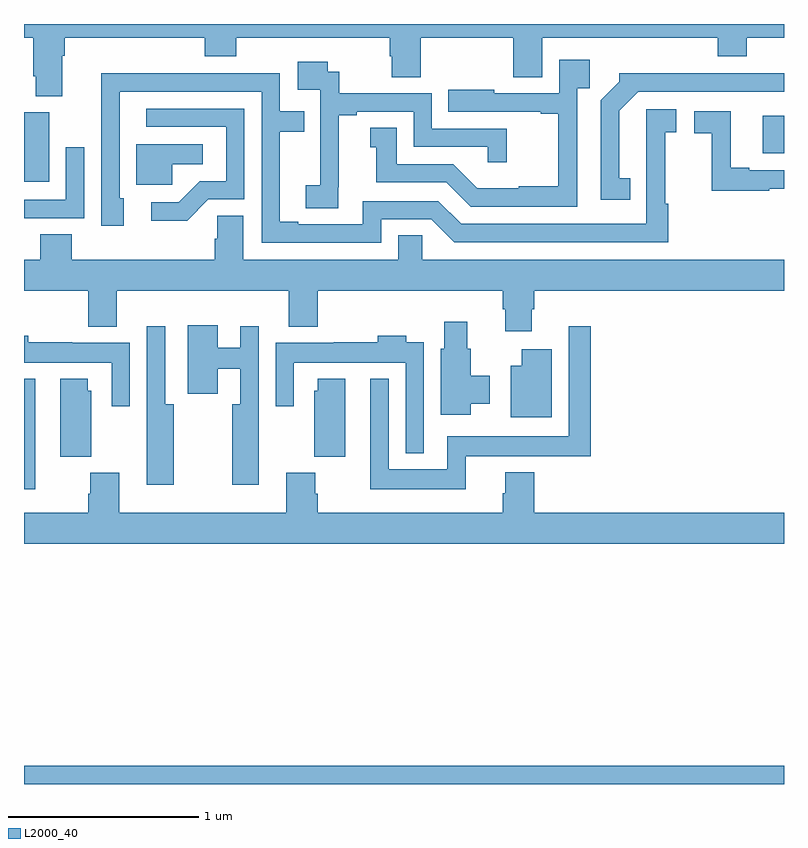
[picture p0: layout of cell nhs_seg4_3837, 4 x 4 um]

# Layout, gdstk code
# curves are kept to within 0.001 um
import gdstk
lib = gdstk.Library(unit=1e-6, precision=1e-09)
def R(c, l, rs):  # rectangles x0, y0, x1, y1
    for r in rs: c.add(gdstk.rectangle(r[:2], r[2:], *l))
def P(c, l, *ps):  # polygons
    for p in ps: c.add(gdstk.Polygon(p, *l))
L2000_40 = (2000, 40)

nhs_seg4_3837 = lib.new_cell('nhs_seg4_3837')
R(nhs_seg4_3837, L2000_40, [(313,784.9,317,784.996), (313,786.452,313.06,787.033), (313,788.069,313.132,788.436), (316.889,788.219,317,788.416)])
P(nhs_seg4_3837, L2000_40, [(313.201,788.732),(313.214,788.732),(313.214,788.828),(313.952,788.828),(313.952,788.729),(314.117,788.729),(314.117,788.828),(314.924,788.828),(314.924,788.73),(314.936,788.73),(314.936,788.62),(315.089,788.62),(315.089,788.828),(315.575,788.828),(315.575,788.62),(315.727,788.62),(315.727,788.828),(316.652,788.828),(316.652,788.729),(316.804,788.729),(316.804,788.828),(317,788.828),(317,788.9),(313,788.9),(313,788.828),(313.049,788.828),(313.049,788.626),(313.061,788.626),(313.061,788.521),(313.201,788.521)],
  [(315.912,788.561),(315.977,788.561),(315.977,788.713),(315.816,788.713),(315.816,788.535),(315.475,788.535),(315.475,788.554),(315.232,788.554),(315.232,788.439),(315.719,788.439),(315.719,788.427),(315.811,788.427),(315.811,788.047),(315.605,788.047),(315.605,788.035),(315.386,788.035),(315.258,788.163),(314.962,788.163),(314.962,788.354),(314.822,788.354),(314.822,788.251),(314.855,788.251),(314.855,788.067),(315.222,788.067),(315.351,787.938),(315.912,787.938)],
  [(314.654,788.041),(314.656,788.041),(314.656,788.419),(314.752,788.419),(314.752,788.439),(315.051,788.439),(315.051,788.253),(315.441,788.253),(315.441,788.172),(315.542,788.172),(315.542,788.349),(315.147,788.349),(315.147,788.535),(314.66,788.535),(314.66,788.649),(314.598,788.649),(314.598,788.701),(314.442,788.701),(314.442,788.553),(314.559,788.553),(314.559,788.249),(314.558,788.249),(314.558,788.052),(314.484,788.052),(314.484,787.93),(314.654,787.93)],
  [(316.19,788.087),(316.132,788.087),(316.132,788.443),(316.233,788.544),(317,788.544),(317,788.64),(316.568,788.64),(316.568,788.642),(316.134,788.642),(316.134,788.597),(316.035,788.498),(316.035,787.974),(316.19,787.974)],
  [(314.88,787.872),(315.144,787.872),(315.264,787.752),(316.391,787.752),(316.391,787.955),(316.374,787.955),(316.374,788.331),(316.432,788.331),(316.432,788.452),(316.274,788.452),(316.275,787.848),(315.3,787.848),(315.18,787.968),(314.784,787.968),(314.784,787.845),(314.443,787.845),(314.443,787.86),(314.347,787.86),(314.347,788.334),(314.474,788.334),(314.474,788.442),(314.346,788.442),(314.346,788.64),(313.868,788.64),(313.868,788.642),(313.406,788.642),(313.407,787.839),(313.525,787.839),(313.525,787.983),(313.503,787.983),(313.503,788.544),(314.25,788.544),(314.25,787.749),(314.88,787.749)],
  [(313.971,787.977),(314.16,787.977),(314.16,788.454),(313.644,788.454),(313.644,788.358),(314.064,788.358),(314.064,788.073),(313.926,788.073),(313.815,787.962),(313.671,787.962),(313.671,787.865),(313.858,787.865)],
  [(316.922,788.034),(317,788.034),(317,788.13),(316.816,788.13),(316.816,788.143),(316.72,788.143),(316.72,788.442),(316.527,788.442),(316.527,788.326),(316.621,788.326),(316.621,788.022),(316.922,788.022)],
  [(313.779,788.162),(313.942,788.162),(313.942,788.266),(313.592,788.266),(313.592,788.055),(313.779,788.055)],
  [(313.317,788.251),(313.221,788.251),(313.221,787.974),(313,787.974),(313,787.878),(313.317,787.878)],
  [(315.673,787.398),(315.686,787.398),(315.686,787.496),(317,787.496),(317,787.66),(315.096,787.66),(315.096,787.787),(314.969,787.787),(314.969,787.66),(314.155,787.66),(314.155,787.892),(314.016,787.892),(314.016,787.769),(314.003,787.769),(314.003,787.66),(313.25,787.66),(313.25,787.793),(313.085,787.793),(313.085,787.66),(313,787.66),(313,787.496),(313.337,787.496),(313.337,787.307),(313.489,787.307),(313.489,787.496),(314.393,787.496),(314.393,787.307),(314.546,787.307),(314.546,787.496),(315.521,787.496),(315.521,787.398),(315.533,787.398),(315.533,787.284),(315.673,787.284)],
  [(315.352,786.902),(315.451,786.902),(315.451,787.05),(315.352,787.05),(315.352,787.191),(315.334,787.191),(315.334,787.333),(315.212,787.333),(315.212,787.191),(315.194,787.191),(315.194,786.843),(315.352,786.843)],
  [(314.236,786.794),(314.235,786.794),(314.235,787.309),(314.139,787.309),(314.139,787.195),(314.02,787.195),(314.02,787.315),(313.862,787.315),(313.862,786.954),(314.02,786.954),(314.02,787.085),(314.139,787.085),(314.139,786.898),(314.095,786.898),(314.095,786.474),(314.236,786.474)],
  [(315.326,786.626),(315.86,786.626),(315.86,786.624),(315.983,786.624),(315.983,787.309),(315.867,787.309),(315.867,786.73),(315.228,786.73),(315.228,786.556),(314.919,786.556),(314.919,787.033),(314.822,787.033),(314.822,786.452),(315.326,786.452)],
  [(313.788,786.898),(313.743,786.898),(313.743,787.309),(313.647,787.309),(313.647,786.794),(313.646,786.794),(313.646,786.474),(313.788,786.474)],
  [(313.557,787.222),(313.253,787.222),(313.253,787.225),(313.022,787.225),(313.022,787.258),(313,787.258),(313,787.118),(313.461,787.118),(313.461,786.888),(313.557,786.888)],
  [(315.105,787.225),(315.013,787.225),(315.013,787.258),(314.861,787.258),(314.861,787.225),(314.629,787.225),(314.629,787.222),(314.325,787.222),(314.325,786.888),(314.421,786.888),(314.421,787.118),(315.009,787.118),(315.009,786.641),(315.105,786.641)],
  [(315.778,787.189),(315.62,787.189),(315.62,787.102),(315.563,787.102),(315.563,786.83),(315.778,786.83)],
  [(314.692,787.033),(314.546,787.033),(314.546,786.969),(314.528,786.969),(314.528,786.622),(314.692,786.622)],
  [(313.354,786.969),(313.336,786.969),(313.336,787.033),(313.19,787.033),(313.19,786.622),(313.354,786.622)],
  [(315.533,786.541),(315.533,786.429),(315.521,786.429),(315.521,786.328),(314.546,786.328),(314.546,786.428),(314.533,786.428),(314.533,786.537),(314.381,786.537),(314.381,786.328),(313.502,786.328),(313.502,786.537),(313.349,786.537),(313.349,786.428),(313.337,786.428),(313.337,786.328),(313,786.328),(313,786.164),(317,786.164),(317,786.328),(315.686,786.328),(315.686,786.541)])

lib.write_gds('nhs_seg4_3837.gds')
